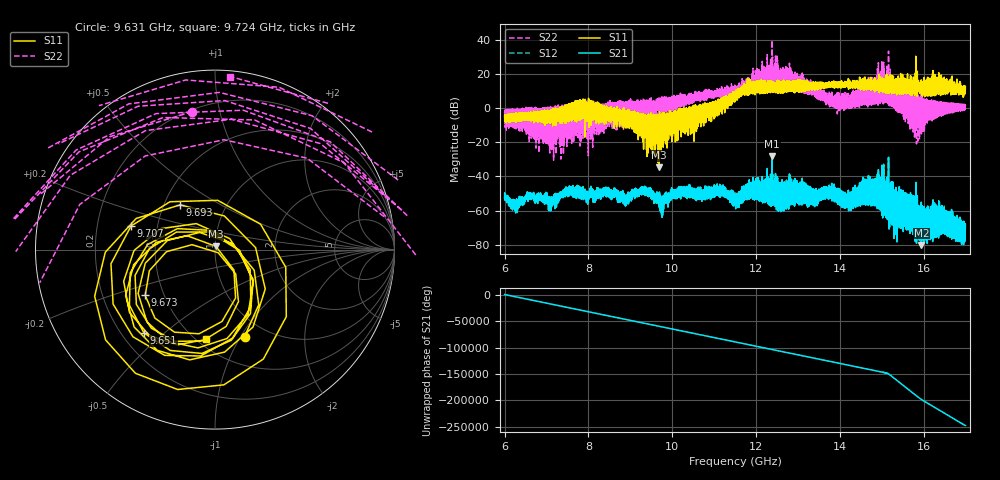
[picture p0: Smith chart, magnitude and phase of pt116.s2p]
#  HZ  S  RI  R  50.00
! Rohde & Schwarz Vector Network Analyzer
! Rohde-Schwarz,ZNA67-2Port,1332450062101215,3.01
! Created: UTC 10/19/2026, 3:27:35 PM
! freq[Hz]  re:S11  im:S11  re:S21  im:S21  re:S12  im:S12  re:S22  im:S22
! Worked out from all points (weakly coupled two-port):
!   11001 points, 6 GHz to 17 GHz, reference 50 ohm
!   highest |S21| = -27.99 dB at 12.38 GHz (marker M1); lowest = -80.2 dB at 15.95 GHz (marker M2)
!   lowest |S11| = -34.5 dB at 9.68 GHz (marker M3), VSWR 1.04, Z = 50.5 + j1.82 ohm
!   |S11| at or under -10 dB: 9.257947 GHz to 9.261197 GHz (3.25 MHz wide, 0.0351 % of centre); 9.316455 GHz to 9.320117 GHz (3.662 MHz wide, 0.0393 % of centre); 9.537981 GHz to 9.542051 GHz (4.07 MHz wide, 0.0427 % of centre) (the widest 3 of 146)
!   |S22| runs from -30.5 to 39.7 dB; largest |S21 - S12| = 0.0024
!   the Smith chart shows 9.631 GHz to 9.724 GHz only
!   S11 on the Smith chart (normalised r, x): 9.631 GHz: 0.79, -1.04; 9.651 GHz: 0.29, -0.43; 9.673 GHz: 0.39, -0.26; 9.693 GHz: 0.60, +0.33; 9.707 GHz: 0.35, +0.12; 9.724 GHz: 0.55, -0.74
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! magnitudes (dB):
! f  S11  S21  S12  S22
! 6 GHz  -4.7  -52.6  -52.5  -2.1
! 6.272 GHz  -7.6  -57.2  -57.3  -12.1
! 6.569 GHz  -2.6  -51.6  -51.6  -0.1
! 7.078 GHz  -3.3  -54.4  -54.3  -9.5
! 7.834 GHz  -5.3  -51.2  -51.0  -8.9
! 9.631 GHz  -5.8  -54.0  -54.2  -2.2
! 9.651 GHz  -4.3  -50.6  -50.6  2.7
! 9.667 GHz  -10.0  -53.2  -53.7  -3.7
! 9.673 GHz  -6.7  -50.3  -50.9  3.0
! 9.68 GHz  -34.5  -55.0  -55.2  1.9
! 9.693 GHz  -10.0  -56.6  -56.8  2.7
! 9.707 GHz  -6.3  -53.1  -53.5  5.4
! 9.724 GHz  -6.0  -55.9  -55.9  -0.3
! 10.22 GHz  -14.2  -50.6  -50.7  3.8
! 11.5 GHz  5.5  -53.4  -53.0  9.2
! 12.38 GHz  10.0  -28.0  -28.2  39.7
! 13.33 GHz  11.9  -54.6  -54.4  9.1
! 13.99 GHz  15.0  -49.5  -49.7  6.5
! 14.72 GHz  12.3  -55.0  -55.0  3.1
! 15.17 GHz  10.9  -62.2  -62.1  3.7
! 15.95 GHz  10.1  -80.2  -80.9  -15.0
! 17 GHz  11.5  -70.7  -70.4  1.5
